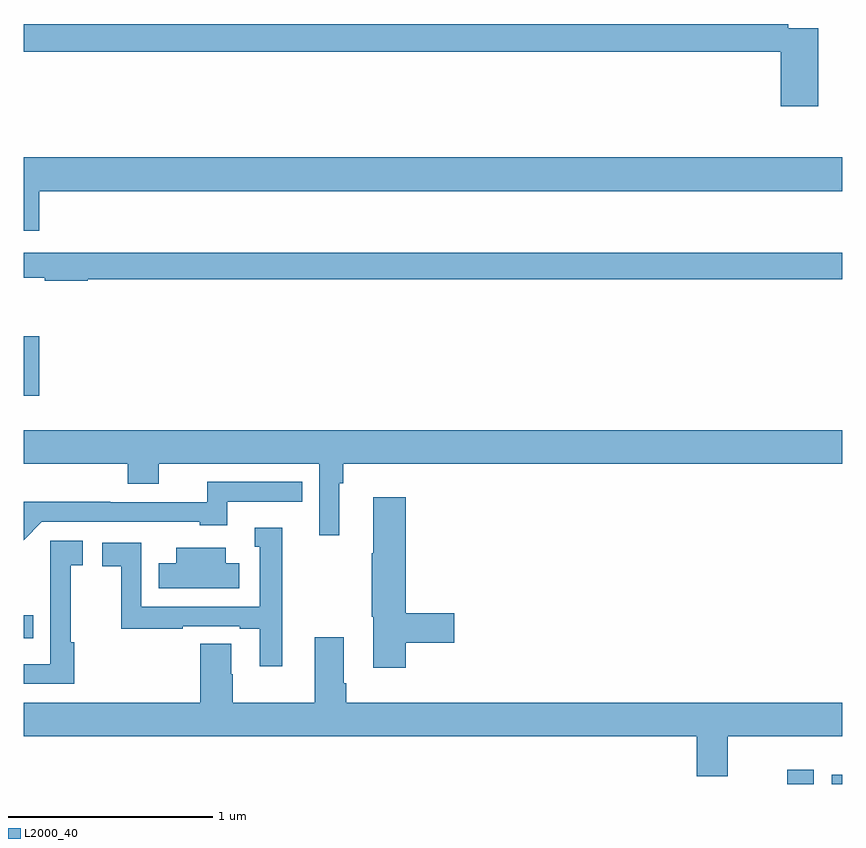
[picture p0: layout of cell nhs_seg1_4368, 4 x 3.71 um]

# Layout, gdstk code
import gdstk
lib = gdstk.Library(unit=1e-6, precision=1e-09)
def R(c, l, rs):  # rectangles x0, y0, x1, y1
    for r in rs: c.add(gdstk.rectangle(r[:2], r[2:], *l))
def P(c, l, *ps):  # polygons
    for p in ps: c.add(gdstk.Polygon(p, *l))
L2000_40 = (2000, 40)

nhs_seg1_4368 = lib.new_cell('nhs_seg1_4368')
R(nhs_seg1_4368, L2000_40, [(352.73,518.199,352.861,518.269), (352.949,518.199,353,518.245), (349,518.91,349.046,519.023), (349,520.097,349.076,520.387)])
P(nhs_seg1_4368, L2000_40, [(352.883,521.892),(352.736,521.892),(352.736,521.912),(349,521.912),(349,521.776),(352.7,521.776),(352.7,521.511),(352.883,521.511)],
  [(349.076,521.096),(353,521.096),(353,521.26),(349,521.26),(349,520.902),(349.076,520.902)],
  [(349.314,520.666),(353,520.666),(353,520.795),(349,520.795),(349,520.673),(349.104,520.673),(349.104,520.658),(349.314,520.658)],
  [(350.542,519.668),(350.561,519.668),(350.561,519.764),(353,519.764),(353,519.928),(349,519.928),(349,519.764),(349.508,519.764),(349.508,519.665),(349.66,519.665),(349.66,519.764),(350.445,519.764),(350.445,519.414),(350.542,519.414)],
  [(349.089,519.48),(349.86,519.48),(349.86,519.464),(349.996,519.464),(349.996,519.579),(350.36,519.579),(350.36,519.675),(349.897,519.675),(349.897,519.576),(349.424,519.576),(349.424,519.578),(349,519.578),(349,519.391)],
  [(350.867,518.89),(351.103,518.89),(351.103,519.032),(350.867,519.032),(350.867,519.601),(350.708,519.601),(350.708,519.326),(350.701,519.326),(350.701,519.015),(350.708,519.015),(350.708,518.766),(350.867,518.766)],
  [(350.263,519.451),(350.129,519.451),(350.129,519.357),(350.154,519.357),(350.154,519.066),(349.575,519.066),(349.575,519.378),(349.383,519.378),(349.383,519.262),(349.477,519.262),(349.477,518.958),(349.778,518.958),(349.778,518.97),(350.057,518.97),(350.057,518.958),(350.153,518.958),(350.153,518.775),(350.263,518.775)],
  [(349.247,518.891),(349.23,518.891),(349.23,519.267),(349.288,519.267),(349.288,519.388),(349.13,519.388),(349.13,519.112),(349.131,519.112),(349.131,518.784),(349,518.784),(349,518.688),(349.247,518.688)],
  [(350.053,519.277),(349.987,519.277),(349.987,519.352),(349.745,519.352),(349.745,519.277),(349.66,519.277),(349.66,519.155),(350.053,519.155)],
  [(352.441,518.432),(353,518.432),(353,518.596),(350.576,518.596),(350.576,518.692),(350.563,518.692),(350.563,518.917),(350.423,518.917),(350.423,518.596),(350.022,518.596),(350.022,518.735),(350.014,518.735),(350.014,518.885),(349.862,518.885),(349.862,518.596),(349,518.596),(349,518.432),(352.289,518.432),(352.289,518.238),(352.441,518.238)])

lib.write_gds('nhs_seg1_4368.gds')
